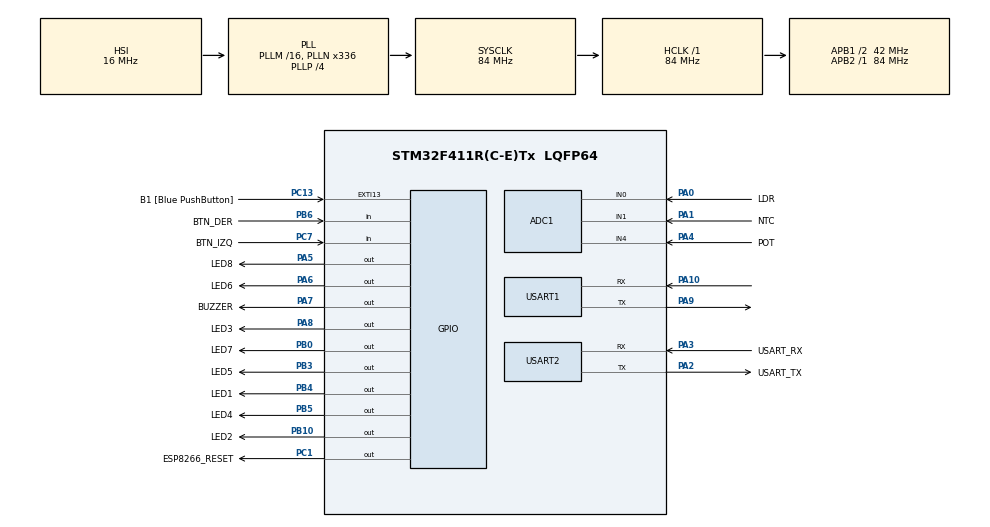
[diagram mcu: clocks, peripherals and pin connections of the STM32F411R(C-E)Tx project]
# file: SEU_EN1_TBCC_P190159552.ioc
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ADC1.Channel-0\#ChannelRegularConversion=ADC_CHANNEL_0
ADC1.NbrOfConversionFlag=1
ADC1.Rank-0\#ChannelRegularConversion=1
ADC1.SamplingTime-0\#ChannelRegularConversion=ADC_SAMPLETIME_3CYCLES
ADC1.master=1
Dma.Request0=USART1_RX
Dma.Request1=USART1_TX
Dma.USART1_RX.0.Direction=DMA_PERIPH_TO_MEMORY
Dma.USART1_RX.0.FIFOMode=DMA_FIFOMODE_DISABLE
Dma.USART1_RX.0.Instance=DMA2_Stream2
Dma.USART1_RX.0.MemDataAlignment=DMA_MDATAALIGN_BYTE
Dma.USART1_RX.0.MemInc=DMA_MINC_ENABLE
Dma.USART1_RX.0.Mode=DMA_NORMAL
Dma.USART1_RX.0.PeriphDataAlignment=DMA_PDATAALIGN_BYTE
Dma.USART1_RX.0.PeriphInc=DMA_PINC_DISABLE
Dma.USART1_RX.0.Priority=DMA_PRIORITY_LOW
Dma.USART1_TX.1.Direction=DMA_MEMORY_TO_PERIPH
Dma.USART1_TX.1.FIFOMode=DMA_FIFOMODE_DISABLE
Dma.USART1_TX.1.Instance=DMA2_Stream7
Dma.USART1_TX.1.MemDataAlignment=DMA_MDATAALIGN_BYTE
Dma.USART1_TX.1.MemInc=DMA_MINC_ENABLE
Dma.USART1_TX.1.Mode=DMA_NORMAL
Dma.USART1_TX.1.PeriphDataAlignment=DMA_PDATAALIGN_BYTE
Dma.USART1_TX.1.PeriphInc=DMA_PINC_DISABLE
Dma.USART1_TX.1.Priority=DMA_PRIORITY_LOW
FREERTOS.Tasks01=defaultTask,24,128,StartDefaultTask,Default,NULL,Dynamic,NULL,NULL;Task_HW,8,1024,StartTask_HW,Default,NULL,Dynamic,NULL,NULL;myTask_Render,8,1024,StartTask_Render,Default,NULL,Dynamic,NULL,NULL
FREERTOS.configTOTAL_HEAP_SIZE=80000
FREERTOS.configUSE_NEWLIB_REENTRANT=1
Mcu.Family=STM32F4
Mcu.Name=STM32F411R(C-E)Tx
Mcu.Package=LQFP64
NVIC.DMA2_Stream2_IRQn=true\:5\:0\:false\:false\:true\:true\:false\:true\:true
NVIC.DMA2_Stream7_IRQn=true\:5\:0\:false\:false\:true\:true\:false\:true\:true
NVIC.PriorityGroup=NVIC_PRIORITYGROUP_4
NVIC.TIM1_UP_TIM10_IRQn=true\:15\:0\:false\:false\:true\:false\:false\:true\:true
NVIC.TimeBase=TIM1_UP_TIM10_IRQn
NVIC.TimeBaseIP=TIM1
NVIC.USART1_IRQn=true\:5\:0\:false\:false\:true\:true\:true\:true\:true
PA0-WKUP.GPIO_Label=LDR
PA0-WKUP.Signal=SharedAnalog_PA0
PA1.GPIO_Label=NTC
PA1.Signal=SharedAnalog_PA1
PA10.Mode=Asynchronous
PA10.Signal=USART1_RX
PA13.GPIO_Label=TMS
PA13.Mode=Serial_Wire
PA13.Signal=SYS_JTMS-SWDIO
PA14.GPIO_Label=TCK
PA14.Mode=Serial_Wire
PA14.Signal=SYS_JTCK-SWCLK
PA2.GPIO_Label=USART_TX
PA2.Mode=Asynchronous
PA2.Signal=USART2_TX
PA3.GPIO_Label=USART_RX
PA3.Mode=Asynchronous
PA3.Signal=USART2_RX
PA4.GPIO_Label=POT
PA4.Signal=SharedAnalog_PA4
PA5.GPIO_Label=LED8
PA5.Signal=GPIO_Output
PA6.GPIO_Label=LED6
PA6.Signal=GPIO_Output
PA7.GPIO_Label=BUZZER
PA7.Signal=GPIO_Output
PA8.GPIO_Label=LED3
PA8.Signal=GPIO_Output
PA9.Mode=Asynchronous
PA9.Signal=USART1_TX
PB0.GPIO_Label=LED7
PB0.Signal=GPIO_Output
PB10.GPIO_Label=LED2
PB10.Signal=GPIO_Output
PB3.GPIO_Label=LED5
PB3.Signal=GPIO_Output
PB4.GPIO_Label=LED1
PB4.Signal=GPIO_Output
PB5.GPIO_Label=LED4
PB5.Signal=GPIO_Output
PB6.GPIO_Label=BTN_DER
PB6.GPIO_PuPd=GPIO_PULLUP
PB6.Signal=GPIO_Input
PC1.GPIO_Label=ESP8266_RESET
PC1.Signal=GPIO_Output
PC13-ANTI_TAMP.GPIO_Label=B1 [Blue PushButton]
PC13-ANTI_TAMP.GPIO_ModeDefaultEXTI=GPIO_MODE_IT_FALLING
PC13-ANTI_TAMP.Signal=GPXTI13
PC14-OSC32_IN.Mode=LSE-External-Oscillator
PC14-OSC32_IN.Signal=RCC_OSC32_IN
PC15-OSC32_OUT.Mode=LSE-External-Oscillator
PC15-OSC32_OUT.Signal=RCC_OSC32_OUT
PC7.GPIO_Label=BTN_IZQ
PC7.GPIO_PuPd=GPIO_PULLUP
PC7.Signal=GPIO_Input
PH0\ -\ OSC_IN.Mode=HSE-External-Clock-Source
PH0\ -\ OSC_IN.Signal=RCC_OSC_IN
PH1\ -\ OSC_OUT.Mode=HSE-External-Clock-Source
PH1\ -\ OSC_OUT.Signal=RCC_OSC_OUT
ProjectManager.HeapSize=0x200
ProjectManager.StackSize=0x400
ProjectManager.TargetToolchain=STM32CubeIDE
RCC.48MHZClocksFreq_Value=84000000
RCC.AHBFreq_Value=84000000
RCC.APB1CLKDivider=RCC_HCLK_DIV2
RCC.APB1Freq_Value=42000000
RCC.APB1TimFreq_Value=84000000
RCC.APB2Freq_Value=84000000
RCC.APB2TimFreq_Value=84000000
RCC.CortexFreq_Value=84000000
RCC.FLatency-AdvancedSettings=FLASH_LATENCY_2
RCC.HCLKFreq_Value=84000000
RCC.HSE_VALUE=8000000
RCC.HSI_VALUE=16000000
RCC.PLLN=336
RCC.PLLP=RCC_PLLP_DIV4
RCC.SYSCLKFreq_VALUE=84000000
RCC.SYSCLKSource=RCC_SYSCLKSOURCE_PLLCLK
RCC.VCOOutputFreq_Value=336000000
SH.SharedAnalog_PA0.0=GPIO_Analog
SH.SharedAnalog_PA0.1=ADC1_IN0,IN0
SH.SharedAnalog_PA1.0=GPIO_Analog
SH.SharedAnalog_PA1.1=ADC1_IN1,IN1
SH.SharedAnalog_PA4.0=GPIO_Analog
SH.SharedAnalog_PA4.1=ADC1_IN4,IN4
USART1.VirtualMode=VM_ASYNC
USART2.VirtualMode=VM_ASYNC
VP_FREERTOS_VS_CMSIS_V2.Mode=CMSIS_V2
VP_SYS_VS_tim1.Mode=TIM1
board=NUCLEO-F411RE

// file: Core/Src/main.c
/* USER CODE BEGIN Header */
/**
  ******************************************************************************
  * @file           : main.c
  * @brief          : Main program body
  ******************************************************************************
  * @attention
  *
  * Copyright (c) 2026 STMicroelectronics.
  * All rights reserved.
  *
  * This software is licensed under terms that can be found in the LICENSE file
  * in the root directory of this software component.
  * If no LICENSE file comes with this software, it is provided AS-IS.
  *
  ******************************************************************************
  */
/* USER CODE END Header */
#include "main.h"
#include "cmsis_os.h"

/* USER CODE BEGIN Includes */
#include "sensors.h"
#include "task_ORION.h"
#include "stdio.h"
#include "math.h"
#include <tareas.h>

/* USER CODE END Includes */

/* USER CODE BEGIN PD */
osMutexId_t sensorMutex;

/* USER CODE END PD */

/* USER CODE BEGIN PM */
#define R25	10000.0
#define T25	298.15
#define BETA   3900
#define HIGH_PRIORITY (( configMAX_PRIORITIES - 1 )>>1)+1
#define NORMAL_PRIORITY (( configMAX_PRIORITIES - 1 )>>1)
#define LOW_PRIORITY (( configMAX_PRIORITIES - 1 )>>1)-1
/* USER CODE END PM */

ADC_HandleTypeDef hadc1;

UART_HandleTypeDef huart1;
UART_HandleTypeDef huart2;
DMA_HandleTypeDef hdma_usart1_rx;
DMA_HandleTypeDef hdma_usart1_tx;

/* Definitions for defaultTask */
osThreadId_t defaultTaskHandle;
const osThreadAttr_t defaultTask_attributes = {
  .name = "defaultTask",
  .stack_size = 128 * 4,
  .priority = (osPriority_t) osPriorityNormal,
};
/* Definitions for Task_HW */
osThreadId_t Task_HWHandle;
const osThreadAttr_t Task_HW_attributes = {
  .name = "Task_HW",
  .stack_size = 512 * 4,
  .priority = (osPriority_t) osPriorityNormal,
};
/* Definitions for myTask_Render */
osThreadId_t myTask_RenderHandle;
const osThreadAttr_t myTask_Render_attributes = {
  .name = "myTask_Render",
  .stack_size = 256 * 4,
  .priority = (osPriority_t) osPriorityNormal,
};
/* USER CODE BEGIN PV */
bool button_pressed_left = false;
bool button_pressed_right = false;
int selectedSensor;
uint32_t alarm_off_timestamp = 0;

uint16_t leds[] = {LED1_Pin,LED2_Pin,LED3_Pin,LED4_Pin,LED5_Pin,LED6_Pin,LED7_Pin,LED8_Pin};

GPIO_TypeDef* leds_ports[] = {GPIOB, GPIOB, GPIOA, GPIOB, GPIOB, GPIOA, GPIOB, GPIOA};

struct sensor_t sensor_ldr;
struct sensor_t sensor_ntc;
float pot_value = 0.0f;
bool alarm_triggered = false;

// --- RISOLUZIONE LINKER E HANDSHAKE DI RETE ---
bool clone_alarm_inhibited = false; // Definizione della variabile reale richiesta da task_ORION.c

int g_mode = 0; // 0: Normal, 1: Clone, 2: Test
int clone_target_id;
static int last_clone_id = -1;

float last_pot_position_ntc ;
float last_pot_position_ldr ;

/* USER CODE END PV */

void SystemClock_Config(void);
static void MX_GPIO_Init(void);
static void MX_DMA_Init(void);
static void MX_USART2_UART_Init(void);
static void MX_ADC1_Init(void);
static void MX_USART1_UART_Init(void);
void StartDefaultTask(void *argument);
void StartTask_HW(void *argument);
void StartTask_Render(void *argument);

/* USER CODE BEGIN 0 */

int _write(int file, char *ptr, int len){
    int DataIdx;
    for (DataIdx = 0; DataIdx < len; DataIdx++){
   	 HAL_UART_Transmit(&huart2, (uint8_t*)ptr++,1,1000);
    }
    return len;
}

void init_sensores(struct sensor_t *sensor_ldr, struct sensor_t * sensor_ntc){
	// Configure the LDR sensor (0% to 100%)
	sensor_ldr->valor = 0.0;
	sensor_ldr->minimo = 20.0;
	sensor_ldr->maximo = 100.0;
	sensor_ldr->nivel_alarma = 7;

	// Configure the NTC sensor (20°C to 35°C)
	sensor_ntc->valor = 0.0;
	sensor_ntc->minimo = 20.;
	sensor_ntc->maximo = 35.0;
	sensor_ntc->nivel_alarma = 7;

}

void render_leds(int number_leds, int led_alarm,long int * last_blink){
  for (int i =0;i<8;i++){
    if (i != led_alarm){
      if (i<number_leds){
        HAL_GPIO_WritePin(leds_ports[i], leds[i], GPIO_PIN_SET);
      }
      else {
        HAL_GPIO_WritePin(leds_ports[i], leds[i], GPIO_PIN_RESET);
      }
    }
  }

  if (led_alarm >= 0 && led_alarm < 8) {
    if(xTaskGetTickCount()- *last_blink > 200){
      *last_blink = xTaskGetTickCount();
      HAL_GPIO_TogglePin(leds_ports[led_alarm], leds[led_alarm]);
    }
  }
}

int clamp(int value, int min, int max){
	if (value > max){
		return max;
	}
	else if (value < min){
		return min;
	}
	return value;
}

float absf(float a){
	if (a>0){
		return a;
	}
	else {
		return -a;
	}
}

/* USER CODE END 0 */

int main(void)
{

  /* MCU Configuration--------------------------------------------------------*/

  /* Reset of all peripherals, Initializes the Flash interface and the Systick. */
  HAL_Init();

  /* Configure the system clock */
  SystemClock_Config();

  /* Initialize all configured peripherals */
  MX_GPIO_Init();
  MX_DMA_Init();
  MX_USART2_UART_Init();
  MX_ADC1_Init();
  MX_USART1_UART_Init();

  /* Init scheduler */
  osKernelInitialize();

  /* USER CODE BEGIN RTOS_MUTEX */
  /* add mutexes, ... */
  sensorMutex = osMutexNew(NULL);
  /* USER CODE END RTOS_MUTEX */

  /* Create the thread(s) */
  /* creation of defaultTask */
  defaultTaskHandle = osThreadNew(StartDefaultTask, NULL, &defaultTask_attributes);

  /* creation of Task_HW */
  Task_HWHandle = osThreadNew(StartTask_HW, NULL, &Task_HW_attributes);

  /* creation of myTask_Render */
  myTask_RenderHandle = osThreadNew(StartTask_Render, NULL, &myTask_Render_attributes);

  /* USER CODE BEGIN RTOS_EVENTS */
  init_sensores(&sensor_ldr, &sensor_ntc);
  CONFIGURACION_INICIAL();
  /* USER CODE END RTOS_EVENTS */

  /* Start scheduler */
  osKernelStart();

  /* We should never get here as control is now taken by the scheduler */
  /* Infinite loop */
  while (1)
  {

  }
}

void SystemClock_Config(void)
{
  RCC_OscInitTypeDef RCC_OscInitStruct = {0};
  RCC_ClkInitTypeDef RCC_ClkInitStruct = {0};

  /** Configure the main internal regulator output voltage
  */
  __HAL_RCC_PWR_CLK_ENABLE();
  __HAL_PWR_VOLTAGESCALING_CONFIG(PWR_REGULATOR_VOLTAGE_SCALE1);

  /** Initializes the RCC Oscillators according to the specified parameters
  * in the RCC_OscInitTypeDef structure.
  */
  RCC_OscInitStruct.OscillatorType = RCC_OSCILLATORTYPE_HSI;
  RCC_OscInitStruct.HSIState = RCC_HSI_ON;
  RCC_OscInitStruct.HSICalibrationValue = RCC_HSICALIBRATION_DEFAULT;
  RCC_OscInitStruct.PLL.PLLState = RCC_PLL_ON;
  RCC_OscInitStruct.PLL.PLLSource = RCC_PLLSOURCE_HSI;
  RCC_OscInitStruct.PLL.PLLM = 16;
  RCC_OscInitStruct.PLL.PLLN = 336;
  RCC_OscInitStruct.PLL.PLLP = RCC_PLLP_DIV4;
  RCC_OscInitStruct.PLL.PLLQ = 4;
  if (HAL_RCC_OscConfig(&RCC_OscInitStruct) != HAL_OK)
  {
    Error_Handler();
  }

  /** Initializes the CPU, AHB and APB buses clocks
  */
  RCC_ClkInitStruct.ClockType = RCC_CLOCKTYPE_HCLK|RCC_CLOCKTYPE_SYSCLK
                              |RCC_CLOCKTYPE_PCLK1|RCC_CLOCKTYPE_PCLK2;
  RCC_ClkInitStruct.SYSCLKSource = RCC_SYSCLKSOURCE_PLLCLK;
  RCC_ClkInitStruct.AHBCLKDivider = RCC_SYSCLK_DIV1;
  RCC_ClkInitStruct.APB1CLKDivider = RCC_HCLK_DIV2;
  RCC_ClkInitStruct.APB2CLKDivider = RCC_HCLK_DIV1;

  if (HAL_RCC_ClockConfig(&RCC_ClkInitStruct, FLASH_LATENCY_2) != HAL_OK)
  {
    Error_Handler();
  }
}

static void MX_ADC1_Init(void)
{

  ADC_ChannelConfTypeDef sConfig = {0};

  /** Configure the global features of the ADC (Clock, Resolution, Data Alignment and number of conversion)
  */
  hadc1.Instance = ADC1;
  hadc1.Init.ClockPrescaler = ADC_CLOCK_SYNC_PCLK_DIV4;
  hadc1.Init.Resolution = ADC_RESOLUTION_12B;
  hadc1.Init.ScanConvMode = DISABLE;
  hadc1.Init.ContinuousConvMode = DISABLE;
  hadc1.Init.DiscontinuousConvMode = DISABLE;
  hadc1.Init.ExternalTrigConvEdge = ADC_EXTERNALTRIGCONVEDGE_NONE;
  hadc1.Init.ExternalTrigConv = ADC_SOFTWARE_START;
  hadc1.Init.DataAlign = ADC_DATAALIGN_RIGHT;
  hadc1.Init.NbrOfConversion = 1;
  hadc1.Init.DMAContinuousRequests = DISABLE;
  hadc1.Init.EOCSelection = ADC_EOC_SINGLE_CONV;
  if (HAL_ADC_Init(&hadc1) != HAL_OK)
  {
    Error_Handler();
  }

  /** Configure for the selected ADC regular channel its corresponding rank in the sequencer and its sample time.
  */
  sConfig.Channel = ADC_CHANNEL_0;
  sConfig.Rank = 1;
  sConfig.SamplingTime = ADC_SAMPLETIME_3CYCLES;
  if (HAL_ADC_ConfigChannel(&hadc1, &sConfig) != HAL_OK)
  {
    Error_Handler();
  }

}

static void MX_USART1_UART_Init(void)
{

  huart1.Instance = USART1;
  huart1.Init.BaudRate = 115200;
  huart1.Init.WordLength = UART_WORDLENGTH_8B;
  huart1.Init.StopBits = UART_STOPBITS_1;
  huart1.Init.Parity = UART_PARITY_NONE;
  huart1.Init.Mode = UART_MODE_TX_RX;
  huart1.Init.HwFlowCtl = UART_HWCONTROL_NONE;
  huart1.Init.OverSampling = UART_OVERSAMPLING_16;
  if (HAL_UART_Init(&huart1) != HAL_OK)
  {
    Error_Handler();
  }

}

static void MX_USART2_UART_Init(void)
{

  huart2.Instance = USART2;
  huart2.Init.BaudRate = 115200;
  huart2.Init.WordLength = UART_WORDLENGTH_8B;
  huart2.Init.StopBits = UART_STOPBITS_1;
  huart2.Init.Parity = UART_PARITY_NONE;
  huart2.Init.Mode = UART_MODE_TX_RX;
  huart2.Init.HwFlowCtl = UART_HWCONTROL_NONE;
  huart2.Init.OverSampling = UART_OVERSAMPLING_16;
  if (HAL_UART_Init(&huart2) != HAL_OK)
  {
    Error_Handler();
  }

}

static void MX_DMA_Init(void)
{

  /* DMA controller clock enable */
  __HAL_RCC_DMA2_CLK_ENABLE();

  /* DMA interrupt init */
  /* DMA2_Stream2_IRQn interrupt configuration */
  HAL_NVIC_SetPriority(DMA2_Stream2_IRQn, 5, 0);
  HAL_NVIC_EnableIRQ(DMA2_Stream2_IRQn);
  /* DMA2_Stream7_IRQn interrupt configuration */
  HAL_NVIC_SetPriority(DMA2_Stream7_IRQn, 5, 0);
  HAL_NVIC_EnableIRQ(DMA2_Stream7_IRQn);

}

static void MX_GPIO_Init(void)
{
  GPIO_InitTypeDef GPIO_InitStruct = {0};

  /* GPIO Ports Clock Enable */
  __HAL_RCC_GPIOC_CLK_ENABLE();
  __HAL_RCC_GPIOH_CLK_ENABLE();
  __HAL_RCC_GPIOA_CLK_ENABLE();
  __HAL_RCC_GPIOB_CLK_ENABLE();

  /*Configure GPIO pin Output Level */
  HAL_GPIO_WritePin(ESP8266_RESET_GPIO_Port, ESP8266_RESET_Pin, GPIO_PIN_RESET);

  /*Configure GPIO pin Output Level */
  HAL_GPIO_WritePin(GPIOA, LED8_Pin|LED6_Pin|BUZZER_Pin|LED3_Pin, GPIO_PIN_RESET);

  /*Configure GPIO pin Output Level */
  HAL_GPIO_WritePin(GPIOB, LED7_Pin|LED2_Pin|LED5_Pin|LED1_Pin
                          |LED4_Pin, GPIO_PIN_RESET);

  /*Configure GPIO pin : B1_Pin */
  GPIO_InitStruct.Pin = B1_Pin;
  GPIO_InitStruct.Mode = GPIO_MODE_IT_FALLING;
  GPIO_InitStruct.Pull = GPIO_NOPULL;
  HAL_GPIO_Init(B1_GPIO_Port, &GPIO_InitStruct);

  /*Configure GPIO pin : ESP8266_RESET_Pin */
  GPIO_InitStruct.Pin = ESP8266_RESET_Pin;
  GPIO_InitStruct.Mode = GPIO_MODE_OUTPUT_PP;
  GPIO_InitStruct.Pull = GPIO_NOPULL;
  GPIO_InitStruct.Speed = GPIO_SPEED_FREQ_LOW;
  HAL_GPIO_Init(ESP8266_RESET_GPIO_Port, &GPIO_InitStruct);

  /*Configure GPIO pins : LED8_Pin LED6_Pin BUZZER_Pin LED3_Pin */
  GPIO_InitStruct.Pin = LED8_Pin|LED6_Pin|BUZZER_Pin|LED3_Pin;
  GPIO_InitStruct.Mode = GPIO_MODE_OUTPUT_PP;
  GPIO_InitStruct.Pull = GPIO_NOPULL;
  GPIO_InitStruct.Speed = GPIO_SPEED_FREQ_LOW;
  HAL_GPIO_Init(GPIOA, &GPIO_InitStruct);

  /*Configure GPIO pins : LED7_Pin LED2_Pin LED5_Pin LED1_Pin
                           LED4_Pin */
  GPIO_InitStruct.Pin = LED7_Pin|LED2_Pin|LED5_Pin|LED1_Pin
                          |LED4_Pin;
  GPIO_InitStruct.Mode = GPIO_MODE_OUTPUT_PP;
  GPIO_InitStruct.Pull = GPIO_NOPULL;
  GPIO_InitStruct.Speed = GPIO_SPEED_FREQ_LOW;
  HAL_GPIO_Init(GPIOB, &GPIO_InitStruct);

  /*Configure GPIO pin : BTN_IZQ_Pin */
  GPIO_InitStruct.Pin = BTN_IZQ_Pin;
  GPIO_InitStruct.Mode = GPIO_MODE_INPUT;
  GPIO_InitStruct.Pull = GPIO_PULLUP;
  HAL_GPIO_Init(BTN_IZQ_GPIO_Port, &GPIO_InitStruct);

  /*Configure GPIO pin : BTN_DER_Pin */
  GPIO_InitStruct.Pin = BTN_DER_Pin;
  GPIO_InitStruct.Mode = GPIO_MODE_INPUT;
  GPIO_InitStruct.Pull = GPIO_PULLUP;
  HAL_GPIO_Init(BTN_DER_GPIO_Port, &GPIO_InitStruct);

}

void StartDefaultTask(void *argument)
{
  /* USER CODE BEGIN 5 */
  /* Infinite loop */
  for(;;)
  {
    osDelay(1000000);
  }
  /* USER CODE END 5 */
}

void StartTask_HW(void *argument)
{
  /* USER CODE BEGIN StartTask_HW */

  GPIO_PinState last_button_state = GPIO_PIN_SET;
  GPIO_PinState last_state_right = GPIO_PIN_SET;

  ADC_ChannelConfTypeDef sConfig = {0};
  sConfig.Rank = 1;
  sConfig.SamplingTime = ADC_SAMPLETIME_3CYCLES;

  static uint32_t t_both_pressed = 0;
  static bool mode_locked = false;
  static int last_clone_id = -1;

  /* Infinite loop */
  for(;;)
  {
      // Read potentiometer (ADC_CHANNEL_4)
      sConfig.Channel = ADC_CHANNEL_4;
      HAL_ADC_ConfigChannel(&hadc1, &sConfig);
      HAL_ADC_Start(&hadc1);
      HAL_ADC_PollForConversion(&hadc1, 10000);
      uint32_t pot_raw = HAL_ADC_GetValue(&hadc1);

      // Read LDR (ADC_CHANNEL_0)
      sConfig.Channel = ADC_CHANNEL_0;
      HAL_ADC_ConfigChannel(&hadc1, &sConfig);
      HAL_ADC_Start(&hadc1);
      HAL_ADC_PollForConversion(&hadc1, 10000);
      uint32_t ldr_raw = HAL_ADC_GetValue(&hadc1);

      // Read NTC (ADC_CHANNEL_1)
      sConfig.Channel = ADC_CHANNEL_1;
      HAL_ADC_ConfigChannel(&hadc1, &sConfig);
      HAL_ADC_Start(&hadc1);
      HAL_ADC_PollForConversion(&hadc1, 10000);
      uint32_t ntc_raw = HAL_ADC_GetValue(&hadc1);

      osMutexAcquire(sensorMutex, osWaitForever);

      if(g_mode == 0){

      // Protection against extreme ADC values (0 and 4095)
      if (ntc_raw > 0 && ntc_raw < 4095) {
          float voltage     = (ntc_raw * 3.3f) / 4095.0f;
          float r_ntc       = (10000.0f * voltage) / (3.3f - voltage);

          if (r_ntc > 0.0f) {
              sensor_ntc.valor = BETA / (log(r_ntc / R25) + BETA / T25) - 273.15f;
          }
      }

      sensor_ldr.valor = sensor_ldr.maximo - (ldr_raw / 4095.0f) * 100.0f;

      }

      pot_value = 1.0f -  (float)pot_raw / 4095.0f;

      if (g_mode == 1) {
			clone_target_id = (int)(pot_value * 26);

			if (clone_target_id != last_clone_id) {
				bprintf("\r\n[HW] Potenziometro mosso in Modo Clone. Target: SensorSEU_%02d\r\n", clone_target_id);
				last_clone_id = clone_target_id;
			}
      }
      else {
          if (selectedSensor == 0){
               if(absf(pot_value - last_pot_position_ntc) > 0.05){
                   sensor_ntc.nivel_alarma = (int) (pot_value*8);
               }
          }
          else{
               if(absf(pot_value - last_pot_position_ldr) > 0.05){
                   sensor_ldr.nivel_alarma = (int) (pot_value*8);
               }
          }
      }

      osMutexRelease(sensorMutex);

      // g_mode state machine switching
      bool left_is_down = (HAL_GPIO_ReadPin(BTN_IZQ_GPIO_Port, BTN_IZQ_Pin) == GPIO_PIN_RESET);
      bool right_is_down = (HAL_GPIO_ReadPin(BTN_DER_GPIO_Port, BTN_DER_Pin) == GPIO_PIN_RESET);

      if (left_is_down && right_is_down) {
          if (t_both_pressed == 0) {
              t_both_pressed = osKernelGetTickCount();
          }

          if (!mode_locked && (osKernelGetTickCount() - t_both_pressed >= 2000)) {
              osMutexAcquire(sensorMutex, osWaitForever);
              g_mode = (g_mode + 1) % 3;
              if (g_mode == 0){
            	  init_sensores(&sensor_ldr, &sensor_ntc);
              }
              osMutexRelease(sensorMutex);
              mode_locked = true;
              printf("\r\n=================================================\r\n");
              printf("\r\n[MODE] System operational mode changed to: %d\r\n", g_mode);
              printf("\r\n=================================================\r\n");

          }
      } else {
          t_both_pressed = 0;
          mode_locked = false;
      }

      // --- LEFT BUTTON HANDLING ---
      GPIO_PinState current_button_state = HAL_GPIO_ReadPin(BTN_IZQ_GPIO_Port, BTN_IZQ_Pin);

      if (last_button_state == GPIO_PIN_SET && current_button_state == GPIO_PIN_RESET) {
    	  if (selectedSensor == 0) {
    		  selectedSensor = 1;
        	  last_pot_position_ldr = pot_value;
    	  } else {
    		  selectedSensor = 0;
        	  last_pot_position_ntc = pot_value;
    	  }
    	  button_pressed_left = true;
    	  osDelay(50);
      }
      last_button_state = current_button_state;

      // --- RIGHT BUTTON HANDLING (RESET LOCALE E INIBIZIONE HANDSHAKE) ---
      GPIO_PinState current_state_right = HAL_GPIO_ReadPin(BTN_DER_GPIO_Port, BTN_DER_Pin);
      if (last_state_right == GPIO_PIN_SET && current_state_right == GPIO_PIN_RESET) {
          button_pressed_right = true;
          alarm_off_timestamp = osKernelGetTickCount();

          HAL_GPIO_WritePin(BUZZER_GPIO_Port, BUZZER_Pin, GPIO_PIN_RESET);
          alarm_triggered = 0;

          if (g_mode == 1) {
              osMutexAcquire(sensorMutex, osWaitForever);
              clone_alarm_inhibited = true; // Attivazione immediata del blocco hardware locale
              osMutexRelease(sensorMutex);

              ORION_SignalAlarmClear(); // Genera la richiesta asincrona di PATCH per spegnere l'allarme
          }
      }
      last_state_right = current_state_right;

      // --- GESTIONE CENTRALIZZATA BUZZER CON BLOCCO HANDSHAKE ---
      static uint32_t t_buzzer_test = 0;

      if (g_mode == 2) {
          if (osKernelGetTickCount() - t_buzzer_test < 100) {
              HAL_GPIO_WritePin(BUZZER_GPIO_Port, BUZZER_Pin, GPIO_PIN_SET);
          } else {
              HAL_GPIO_WritePin(BUZZER_GPIO_Port, BUZZER_Pin, GPIO_PIN_RESET);
          }
          if (osKernelGetTickCount() - t_buzzer_test >= 1000) {
              t_buzzer_test = osKernelGetTickCount();
          }
      }
      else if (alarm_triggered && !clone_alarm_inhibited) { // Il buzzer suona solo se NON inibito dalla transazione
          HAL_GPIO_WritePin(BUZZER_GPIO_Port, BUZZER_Pin, GPIO_PIN_SET);
      }
      else {
          HAL_GPIO_WritePin(BUZZER_GPIO_Port, BUZZER_Pin, GPIO_PIN_RESET);
      }

      // --- DIAGNOSTICA MODO TEST ---
      static uint32_t t_stampa_test = 0;

      if (g_mode == 2 && (osKernelGetTickCount() - t_stampa_test >= 2000)) {
          t_stampa_test = osKernelGetTickCount();

          float temp_ntc, temp_ldr;
          osMutexAcquire(sensorMutex, osWaitForever);
          temp_ntc = sensor_ntc.valor;
          temp_ldr = sensor_ldr.valor;
          osMutexRelease(sensorMutex);

          bprintf("\r\n--- MODO TEST ---\r\n");
          bprintf("Sensori -> NTC: %d C | LDR: %d%% | POT: %d\r\n",
                 (int)temp_ntc, (int)temp_ldr, (int)(pot_value * 100));
          bprintf("Pulsanti -> SINISTRO: %d | DESTRO: %d\r\n",
                 left_is_down, right_is_down);
      }

      osDelay(50);
  }
  /* USER CODE END StartTask_HW */
}
void StartTask_Render(void *argument)
{
  /* USER CODE BEGIN StartTask_Render */
  long int last_blinking = 0;
  int nb_leds = 0;
  int led_alarm = 0;

  static uint32_t t_leds = 0;
  static int led_sequenza = 0;

  /* Infinite loop */
  for(;;)
  {
    if (g_mode == 2)
    {
        if (osKernelGetTickCount() - t_leds >= 150) {
            t_leds = osKernelGetTickCount();
            led_sequenza = (led_sequenza + 1) % 8;
        }
        render_leds(led_sequenza + 1, 9, &last_blinking);
        osDelay(20);
        continue;
    }

    if (HAL_GPIO_ReadPin(BTN_DER_GPIO_Port, BTN_DER_Pin) == GPIO_PIN_RESET &&
        !alarm_triggered &&
        (osKernelGetTickCount() - alarm_off_timestamp) > 500) {

        int led_del_modo = g_mode + 1;
        render_leds(led_del_modo, 9, &last_blinking);
        osDelay(20);
        continue;
    }

    if (selectedSensor == 0){
        osMutexAcquire(sensorMutex, osWaitForever);
        nb_leds = (int) ((sensor_ntc.valor-sensor_ntc.minimo)/(sensor_ntc.maximo - sensor_ntc.minimo)*8);
        led_alarm = (int) sensor_ntc.nivel_alarma;
        osMutexRelease(sensorMutex);
        nb_leds = clamp(nb_leds,0,7);
        led_alarm = clamp(led_alarm,0,7);
        render_leds(nb_leds,led_alarm,&last_blinking);
    }
    else {
        osMutexAcquire(sensorMutex, osWaitForever);
        nb_leds = (int) ((sensor_ldr.valor-sensor_ldr.minimo)/(sensor_ldr.maximo - sensor_ldr.minimo)*8);
        led_alarm = (int) sensor_ldr.nivel_alarma;
        osMutexRelease(sensorMutex);
        nb_leds = clamp(nb_leds,0,7);
        led_alarm = clamp(led_alarm,0,7);
        render_leds(nb_leds,led_alarm,&last_blinking);
    }

    if (led_alarm <= nb_leds && (osKernelGetTickCount() - alarm_off_timestamp) >= 5000 ){
        alarm_triggered = 1;

    }

    osDelay(20);
  }
  /* USER CODE END StartTask_Render */
}

void HAL_TIM_PeriodElapsedCallback(TIM_HandleTypeDef *htim)
{
  if (htim->Instance == TIM1) {
    HAL_IncTick();
  }
}

void Error_Handler(void)
{
  __disable_irq();
  while (1)
  {
  }
}
